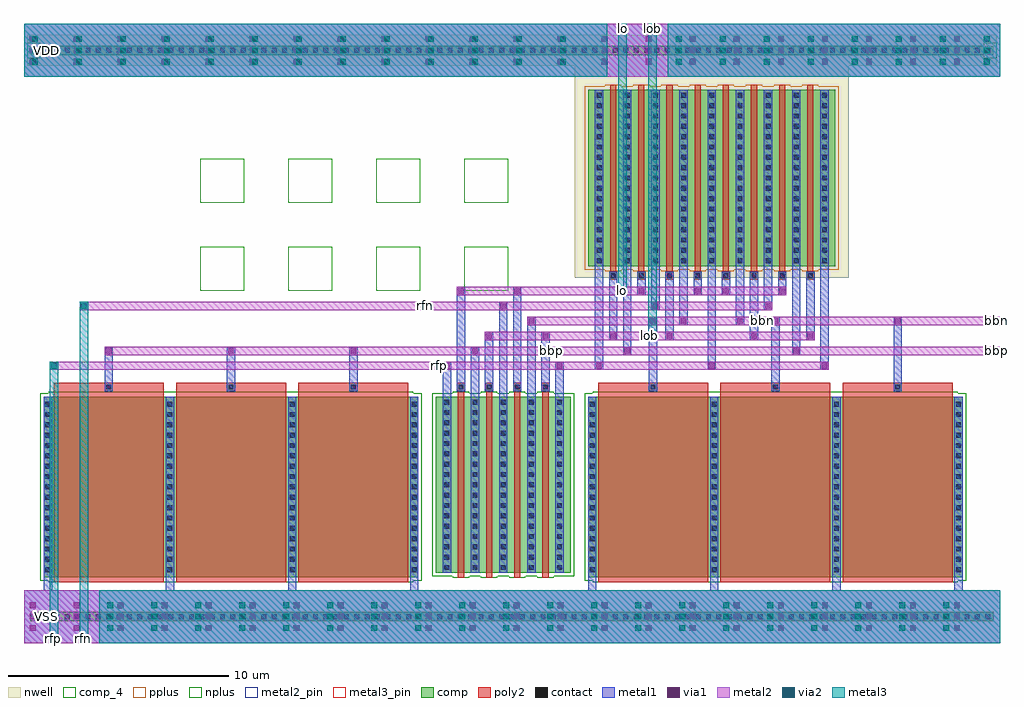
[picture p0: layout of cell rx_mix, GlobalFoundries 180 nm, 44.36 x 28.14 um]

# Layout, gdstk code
import gdstk
lib = gdstk.Library(unit=1e-6, precision=1e-09)
def R(c, l, rs):  # rectangles x0, y0, x1, y1
    for r in rs: c.add(gdstk.rectangle(r[:2], r[2:], *l))
def A(c, l, x, y, w, h, nx, ny, dx, dy):  # array of equal rectangles
    R(c, l, [(x+i*dx, y+j*dy, x+i*dx+w, y+j*dy+h) for i in range(nx) for j in range(ny)])
nwell = (21, 0)
comp = (22, 0)
comp_4 = (22, 4)
poly2 = (30, 0)
pplus = (31, 0)
nplus = (32, 0)
contact = (33, 0)
metal1 = (34, 0)
via1 = (35, 0)
metal2 = (36, 0)
metal2_pin = (36, 10)
via2 = (38, 0)
metal3 = (42, 0)
metal3_pin = (42, 10)

rx_mix = lib.new_cell('rx_mix')
R(rx_mix, nwell, [(25.04,14.205,37.48,23.835), (0.15,23.835,44.21,25.235)])
R(rx_mix, comp, [(0.3,-1.39,44.06,-1.01), (0.9,0.6,17.92,8.79), (25.64,0.6,42.66,8.79), (18.72,0.79,24.84,8.79), (25.64,14.735,36.88,22.735), (0.3,24.345,44.06,24.725)])
A(rx_mix, comp_4, 8, 13.6, 2, 2, 4, 2, 4, 4)
A(rx_mix, poly2, 1.35, 0.37, 5, 9.05, 3, 1, 5.56, 0)
A(rx_mix, poly2, 26.09, 0.37, 5, 9.05, 3, 1, 5.56, 0)
A(rx_mix, poly2, 19.72, 0.56, 0.28, 8.49, 4, 1, 1.28, 0)
A(rx_mix, poly2, 19.675, 9.05, 0.37, 0.37, 4, 1, 1.28, 0)
A(rx_mix, poly2, 26.595, 14.105, 0.37, 0.37, 8, 1, 1.28, 0)
A(rx_mix, poly2, 26.64, 14.475, 0.28, 8.49, 8, 1, 1.28, 0)
A(rx_mix, pplus, 26.41, 14.505, 0.74, 0.07, 8, 2, 1.28, 8.39)
R(rx_mix, pplus, [(0.28,-1.41,44.08,-0.99), (25.48,14.575,37.04,22.895)])
A(rx_mix, nplus, 19.49, 0.56, 0.74, 0.07, 4, 2, 1.28, 8.39)
R(rx_mix, nplus, [(1.12,0.37,17.7,0.44), (25.86,0.37,42.44,0.44), (0.74,0.44,18.08,8.95), (25.48,0.44,42.82,8.95), (18.56,0.63,25,8.95), (1.12,8.95,17.7,9.02), (25.86,8.95,42.44,9.02), (0.14,24.185,0.74,24.325), (43.62,24.185,44.22,24.325), (0.14,24.325,44.22,24.745), (0.14,24.745,0.74,24.885), (43.62,24.745,44.22,24.885)])
A(rx_mix, contact, 0.45, -1.31, 0.22, 0.22, 93, 2, 0.47, 25.735)
A(rx_mix, contact, 0.975, 0.825, 0.22, 0.22, 1, 17, 0, 0.47)
A(rx_mix, contact, 6.52, 0.825, 0.22, 0.22, 1, 17, 0, 0.47)
A(rx_mix, contact, 12.08, 0.825, 0.22, 0.22, 1, 17, 0, 0.47)
A(rx_mix, contact, 17.625, 0.825, 0.22, 0.22, 1, 17, 0, 0.47)
A(rx_mix, contact, 25.715, 0.825, 0.22, 0.22, 1, 17, 0, 0.47)
A(rx_mix, contact, 31.26, 0.825, 0.22, 0.22, 1, 17, 0, 0.47)
A(rx_mix, contact, 36.82, 0.825, 0.22, 0.22, 1, 17, 0, 0.47)
A(rx_mix, contact, 42.365, 0.825, 0.22, 0.22, 1, 17, 0, 0.47)
A(rx_mix, contact, 19.11, 0.92, 0.22, 0.22, 5, 17, 1.28, 0.47)
A(rx_mix, contact, 3.74, 9.125, 0.22, 0.22, 3, 1, 5.56, 0)
A(rx_mix, contact, 19.75, 9.125, 0.22, 0.22, 4, 1, 1.28, 0)
A(rx_mix, contact, 28.48, 9.125, 0.22, 0.22, 3, 1, 5.56, 0)
A(rx_mix, contact, 26.67, 14.18, 0.22, 0.22, 8, 1, 1.28, 0)
A(rx_mix, contact, 26.03, 14.865, 0.22, 0.22, 9, 17, 1.28, 0.47)
A(rx_mix, metal1, 3.66, 9.045, 0.38, 2.025, 3, 1, 5.56, 0)
A(rx_mix, metal1, 28.4, 9.045, 0.38, 3.385, 3, 1, 5.56, 0)
A(rx_mix, metal1, 25.95, 10.01, 0.38, 12.73, 3, 1, 5.12, 0)
R(rx_mix, metal1, [(0,-2.4,44.36,0), (0.895,0,1.275,8.795), (6.44,0,6.82,8.795), (12,0,12.38,8.795), (17.545,0,17.925,8.795), (25.635,0,26.015,8.795), (31.18,0,31.56,8.795), (36.74,0,37.12,8.795), (42.285,0,42.665,8.795), (19.03,0.785,19.41,10.39), (20.31,0.785,20.69,11.07), (21.59,0.785,21.97,13.11), (22.87,0.785,23.25,12.43), (24.15,0.785,24.53,10.39), (19.67,9.045,20.05,13.79), (20.95,9.045,21.33,11.75), (22.23,9.045,22.61,13.79), (23.51,9.045,23.89,11.75), (27.23,10.69,27.61,22.74), (34.91,10.69,35.29,22.74), (26.59,11.37,26.97,14.48), (29.15,11.37,29.53,14.48), (32.99,11.37,33.37,14.48), (35.55,11.37,35.93,14.48), (29.79,12.05,30.17,22.74), (32.35,12.05,32.73,22.74), (28.51,12.73,28.89,22.74), (33.63,12.73,34.01,22.74), (27.87,13.41,28.25,14.48), (30.43,13.41,30.81,14.48), (31.71,13.41,32.09,14.48), (34.27,13.41,34.65,14.48), (0,23.335,44.36,25.735)])
A(rx_mix, via1, 0.27, -1.85, 0.26, 0.26, 22, 3, 2, 0.52)
A(rx_mix, via1, 26.01, 10.07, 0.26, 0.26, 3, 1, 5.12, 0)
A(rx_mix, via1, 3.72, 10.75, 0.26, 0.26, 3, 1, 5.56, 0)
A(rx_mix, via1, 0.27, 23.885, 0.26, 0.26, 22, 3, 2, 0.52)
R(rx_mix, via1, [(19.09,10.07,19.35,10.33), (24.21,10.07,24.47,10.33), (20.37,10.75,20.63,11.01), (27.29,10.75,27.55,11.01), (34.97,10.75,35.23,11.01), (21.01,11.43,21.27,11.69), (23.57,11.43,23.83,11.69), (26.65,11.43,26.91,11.69), (29.21,11.43,29.47,11.69), (33.05,11.43,33.31,11.69), (35.61,11.43,35.87,11.69), (22.93,12.11,23.19,12.37), (28.46,12.11,28.72,12.37), (29.85,12.11,30.11,12.37), (32.41,12.11,32.67,12.37), (34.02,12.11,34.28,12.37), (39.58,12.11,39.84,12.37), (21.65,12.79,21.91,13.05), (28.57,12.79,28.83,13.05), (33.69,12.79,33.95,13.05), (19.73,13.47,19.99,13.73), (22.29,13.47,22.55,13.73), (27.93,13.47,28.19,13.73), (30.49,13.47,30.75,13.73), (31.77,13.47,32.03,13.73), (34.33,13.47,34.59,13.73)])
R(rx_mix, metal2, [(0,-2.4,44.36,0), (1.17,10.01,36.57,10.39), (3.66,10.69,44.36,11.07), (20.95,11.37,35.93,11.75), (22.87,12.05,44.36,12.43), (2.53,12.73,34.01,13.11), (19.67,13.41,34.65,13.79), (0,23.335,44.36,25.735)])
R(rx_mix, metal2_pin, [(0.95,-1.25,1.05,-1.15), (44.16,10.83,44.26,10.93), (44.16,12.19,44.26,12.29), (0.95,24.485,1.05,24.585)])
A(rx_mix, via2, 3.79, -1.85, 0.26, 0.26, 20, 3, 2, 0.52)
A(rx_mix, via2, 0.37, 23.885, 0.26, 0.26, 13, 3, 2, 0.52)
A(rx_mix, via2, 29.63, 23.885, 0.26, 0.26, 8, 3, 2, 0.52)
R(rx_mix, via2, [(1.23,10.07,1.49,10.33), (28.43,11.43,28.69,11.69), (2.59,12.79,2.85,13.05), (27.07,13.47,27.33,13.73)])
R(rx_mix, metal3, [(1.17,-2.4,1.55,10.39), (2.53,-2.4,2.91,13.11), (3.42,-2.4,44.36,0), (28.37,11.37,28.75,25.735), (27.01,13.41,27.39,25.735), (0,23.335,26.5,25.735), (29.26,23.335,44.36,25.735)])
R(rx_mix, metal3_pin, [(1.31,-2.25,1.41,-2.15), (2.67,-2.25,2.77,-2.15), (27.15,25.485,27.25,25.585), (28.51,25.485,28.61,25.585)])
rx_mix.add(gdstk.Label('rfp', (18.87,10.2), layer=36, texttype=0))
rx_mix.add(gdstk.Label('bbp', (23.955,10.88), layer=36, texttype=0))
rx_mix.add(gdstk.Label('lob', (28.44,11.56), layer=36, texttype=0))
rx_mix.add(gdstk.Label('bbn', (33.56,12.24), layer=36, texttype=0))
rx_mix.add(gdstk.Label('rfn', (18.27,12.92), layer=36, texttype=0))
rx_mix.add(gdstk.Label('lo', (27.16,13.6), layer=42, texttype=0))
rx_mix.add(gdstk.Label('rfp', (1.36,-2.2), layer=42, texttype=10))
rx_mix.add(gdstk.Label('rfn', (2.72,-2.2), layer=42, texttype=10))
rx_mix.add(gdstk.Label('lo', (27.2,25.535), layer=42, texttype=10))
rx_mix.add(gdstk.Label('lob', (28.56,25.535), layer=42, texttype=10))
rx_mix.add(gdstk.Label('bbp', (44.21,10.88), layer=36, texttype=10))
rx_mix.add(gdstk.Label('bbn', (44.21,12.24), layer=36, texttype=10))
rx_mix.add(gdstk.Label('VSS', (1,-1.2), layer=36, texttype=10))
rx_mix.add(gdstk.Label('VDD', (1,24.535), layer=36, texttype=10))

lib.write_gds('rx_mix.gds')
